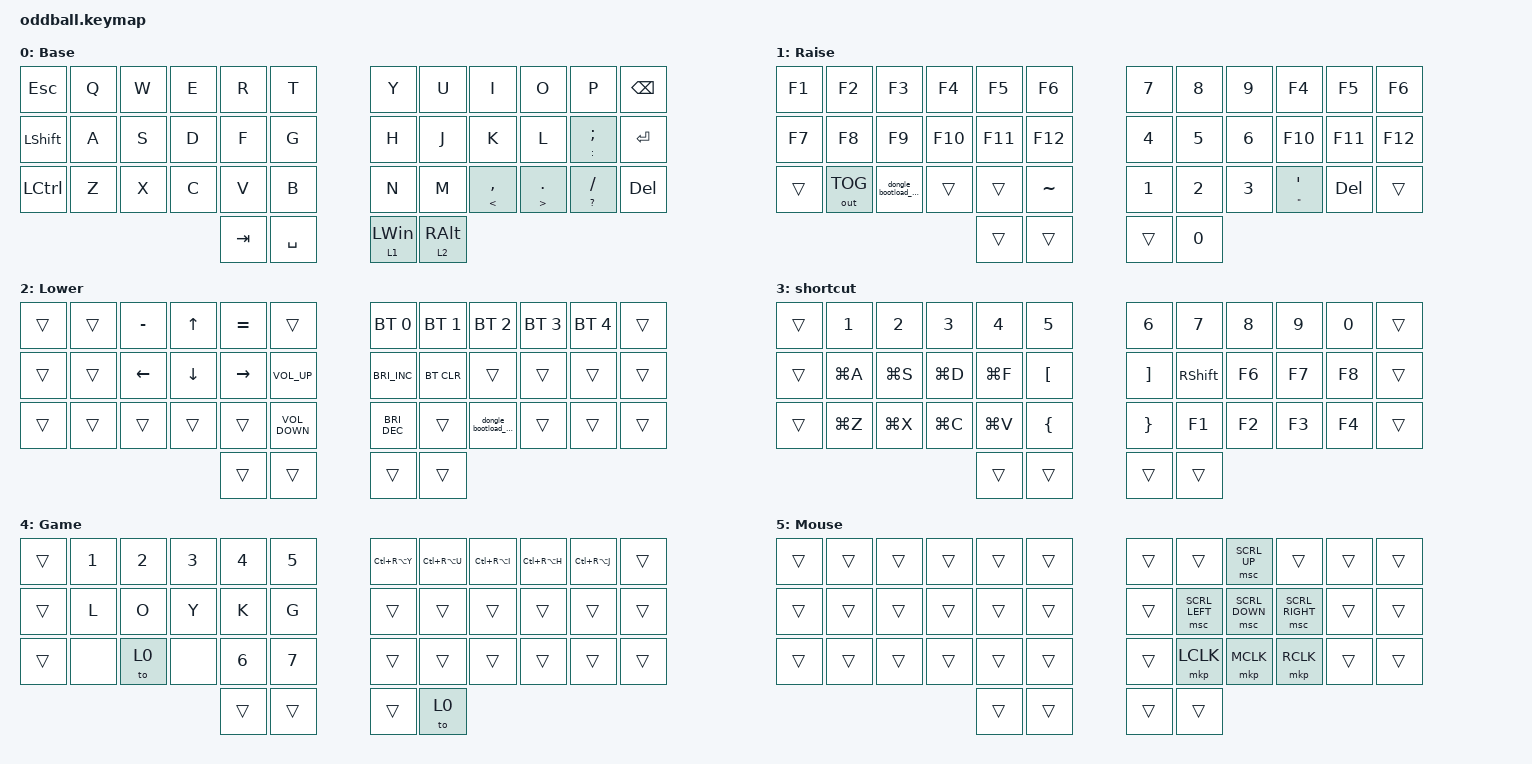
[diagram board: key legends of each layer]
#include <dt-bindings/zmk/mouse.h>
#include <behaviors.dtsi>
#include <dt-bindings/zmk/bt.h>
#include <dt-bindings/zmk/keys.h>
#include <dt-bindings/zmk/outputs.h>

&lt {
    tapping-term-ms = <240>;
    flavor = "balanced";
    quick-tap-ms = <150>;
};

&mt {
    global-quick-tap;
    flavor = "tap-preferred";
    tapping-term-ms = <200>;
};

&sk {
    release-after-ms = <2000>;
    quick-release;
};

/ {
    macros {
        dongle_bootload_macro: bootload_macro {
            compatible = "zmk,behavior-macro";
            #binding-cells = <0>;
            bindings = <&bootloader>;
            label = "BOOTLOAD_MACRO";
        };
    };

    combos {
        compatible = "zmk,combos";

        combo_esc {
            timeout-ms = <50>;
            key-positions = <0 1>;
            bindings = <&kp ESC>;
        };

        left_bkt {
            bindings = <&kp LEFT_BRACKET>;
            key-positions = <2 3>;
            timeout-ms = <50>;
        };

        right_bkt {
            bindings = <&kp RIGHT_BRACKET>;
            key-positions = <8 9>;
            timeout-ms = <50>;
        };

        left_par {
            bindings = <&kp LEFT_PARENTHESIS>;
            key-positions = <15 16>;
            timeout-ms = <50>;
        };

        right_par {
            bindings = <&kp RIGHT_PARENTHESIS>;
            key-positions = <19 20>;
            timeout-ms = <50>;
        };

        left_brace {
            bindings = <&kp LEFT_BRACE>;
            key-positions = <27 28>;
            timeout-ms = <50>;
        };

        right_brace {
            bindings = <&kp RIGHT_BRACE>;
            key-positions = <31 32>;
            timeout-ms = <50>;
        };

        bac {
            bindings = <&kp BACKSLASH>;
            key-positions = <5 6>;
            timeout-ms = <50>;
        };

        pipe {
            bindings = <&kp PIPE>;
            key-positions = <17 18>;
            timeout-ms = <50>;
        };
    };

    behaviors {
        hm: homerow_mods {
            compatible = "zmk,behavior-hold-tap";
            label = "HOMEROW_MODS";
            bindings = <&kp>, <&kp>;

            #binding-cells = <2>;
            tapping-term-ms = <200>;
            quick-tap-ms = <180>;
            flavor = "tap-preferred";
        };

        ltq: ltq {
            compatible = "zmk,behavior-hold-tap";
            label = "LTQ";
            bindings = <&mo>, <&kp>;

            #binding-cells = <2>;
            tapping-term-ms = <200>;
            quick-tap-ms = <180>;
        };

        as: auto_shift {
            compatible = "zmk,behavior-hold-tap";
            label = "AUTO_SHIFT";
            bindings = <&kp>, <&kp>;

            #binding-cells = <2>;
            tapping-term-ms = <135>;
            quick-tap-ms = <0>;
        };
    };

    keymap {
        compatible = "zmk,keymap";

        Base {
            label = "Base";
            bindings = <
&kp ESCAPE      &kp Q  &kp W  &kp E    &kp R      &kp T             &kp Y  &kp U  &kp I                &kp O                    &kp P                &kp BACKSPACE
&kp LEFT_SHIFT  &kp A  &kp S  &kp D    &kp F      &kp G             &kp H  &kp J  &kp K                &kp L                    &as COLON SEMICOLON  &kp ENTER
&kp LCTRL       &kp Z  &kp X  &kp C    &kp V      &kp B             &kp N  &kp M  &as LESS_THAN COMMA  &as GREATER_THAN PERIOD  &as QUESTION SLASH   &kp DELETE
                              &kp TAB  &kp SPACE  &lt 1 LEFT_WIN                  &lt 2 RIGHT_ALT
            >;
        };

        Raise {
            label = "Raise";
            bindings = <
&kp F1  &kp F2        &kp F3                  &kp F4   &kp F5   &kp F6       &kp N7        &kp N8        &kp N9        &kp F4                          &kp F5      &kp F6
&kp F7  &kp F8        &kp F9                  &kp F10  &kp F11  &kp F12      &kp NUMBER_4  &kp N5        &kp NUMBER_6  &kp F10                         &kp F11     &kp F12
&trans  &out OUT_TOG  &dongle_bootload_macro  &trans   &trans   &kp TILDE    &kp NUMBER_1  &kp NUMBER_2  &kp NUMBER_3  &as DOUBLE_QUOTES SINGLE_QUOTE  &kp DELETE  &trans
                                              &trans   &trans   &trans                                   &kp N0
            >;
        };

        Lower {
            label = "Lower";
            bindings = <
&trans  &trans  &kp MINUS  &kp UP    &kp EQUAL  &trans               &bt BT_SEL 0          &bt BT_SEL 1  &bt BT_SEL 2            &bt BT_SEL 3  &bt BT_SEL 4  &trans
&trans  &trans  &kp LEFT   &kp DOWN  &kp RIGHT  &kp C_VOLUME_UP      &kp C_BRIGHTNESS_INC  &bt BT_CLR    &trans                  &trans        &trans        &trans
&trans  &trans  &trans     &trans    &trans     &kp C_VOLUME_DOWN    &kp C_BRI_DEC         &trans        &dongle_bootload_macro  &trans        &trans        &trans
                           &trans    &trans     &trans                                                   &trans
            >;
        };

        Shortcut {
            label = "shortcut";
            bindings = <
&trans  &kp NUMBER_1  &kp NUMBER_2  &kp NUMBER_3  &kp NUMBER_4  &kp NUMBER_5        &kp NUMBER_6       &kp NUMBER_7     &kp NUMBER_8  &kp NUMBER_9  &kp NUMBER_0  &trans
&trans  &kp LG(A)     &kp LG(S)     &kp LG(D)     &kp LG(F)     &kp LEFT_BRACKET    &kp RIGHT_BRACKET  &kp RIGHT_SHIFT  &kp F6        &kp F7        &kp F8        &trans
&trans  &kp LG(Z)     &kp LG(X)     &kp LG(C)     &kp LG(V)     &kp LEFT_BRACE      &kp RIGHT_BRACE    &kp F1           &kp F2        &kp F3        &kp F4        &trans
                                    &trans        &trans        &trans                                                  &trans
            >;
        };

        Game {
            label = "Game";
            bindings = <
&trans  &kp NUMBER_1  &kp NUMBER_2  &kp NUMBER_3  &kp NUMBER_4  &kp NUMBER_5    &kp LC(RA(Y))  &kp LC(RA(U))  &kp LC(RA(I))  &kp LC(RA(H))  &kp LC(RA(J))  &trans
&trans  &kp L         &kp O         &kp Y         &kp K         &kp G           &trans         &trans         &trans         &trans         &trans         &trans
&trans  &none         &to 0         &none         &kp NUMBER_6  &kp NUMBER_7    &trans         &trans         &trans         &trans         &trans         &trans
                                    &trans        &trans        &trans                                        &to 0
            >;
        };

        Mouse {
            bindings = <
&trans  &trans  &trans  &trans  &trans  &trans    &trans  &trans          &msc SCRL_UP    &trans           &trans  &trans
&trans  &trans  &trans  &trans  &trans  &trans    &trans  &msc SCRL_LEFT  &msc SCRL_DOWN  &msc SCRL_RIGHT  &trans  &trans
&trans  &trans  &trans  &trans  &trans  &trans    &trans  &mkp LCLK       &mkp MCLK       &mkp RCLK        &trans  &trans
                        &trans  &trans  &trans                            &trans
            >;
        };
    };

    conditional_layers {
        compatible = "zmk,conditional-layers";

        game {
            if-layers = <3 4>;
            then-layer = <4>;
        };
    };
};
